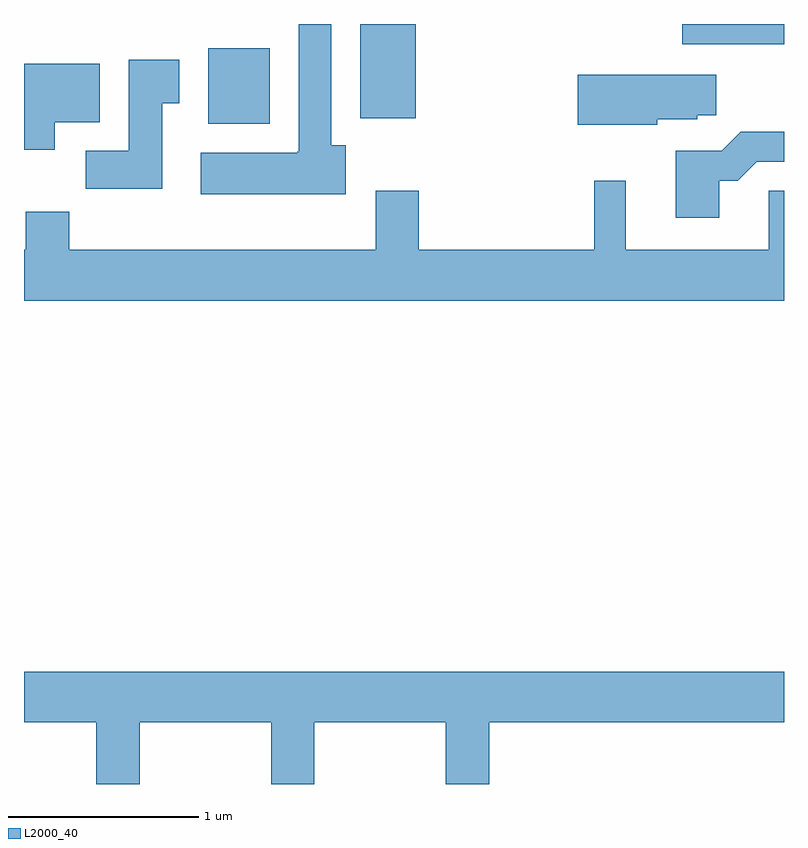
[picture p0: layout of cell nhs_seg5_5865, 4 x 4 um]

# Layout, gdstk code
import gdstk
lib = gdstk.Library(unit=1e-6, precision=1e-09)
def R(c, l, rs):  # rectangles x0, y0, x1, y1
    for r in rs: c.add(gdstk.rectangle(r[:2], r[2:], *l))
def P(c, l, *ps):  # polygons
    for p in ps: c.add(gdstk.Polygon(p, *l))
L2000_40 = (2000, 40)

nhs_seg5_5865 = lib.new_cell('nhs_seg5_5865')
R(nhs_seg5_5865, L2000_40, [(360.581,1415.546,360.904,1415.944), (361.381,1415.576,361.674,1416.072), (363.076,1415.966,363.611,1416.072)])
P(nhs_seg5_5865, L2000_40, [(361.304,1415.434),(361.229,1415.434),(361.229,1416.072),(360.993,1416.072),(360.993,1416.071),(361.056,1416.071),(361.056,1415.4),(361.05,1415.4),(361.05,1415.394),(360.541,1415.394),(360.541,1415.176),(361.304,1415.176)],
  [(360.339,1415.656),(360.429,1415.656),(360.429,1415.884),(360.161,1415.884),(360.161,1415.404),(359.936,1415.404),(359.936,1415.206),(360.339,1415.206)],
  [(359.774,1415.556),(360.009,1415.556),(360.009,1415.864),(359.611,1415.864),(359.611,1415.411),(359.774,1415.411)],
  [(362.944,1415.571),(363.154,1415.571),(363.154,1415.591),(363.254,1415.591),(363.254,1415.804),(362.526,1415.804),(362.526,1415.541),(362.944,1415.541)],
  [(363.269,1415.246),(363.367,1415.246),(363.467,1415.346),(363.611,1415.346),(363.611,1415.504),(363.384,1415.504),(363.284,1415.404),(363.041,1415.404),(363.041,1415.051),(363.269,1415.051)],
  [(363.611,1415.194),(363.531,1415.194),(363.531,1414.884),(362.779,1414.884),(362.779,1415.248),(362.611,1415.248),(362.611,1414.884),(361.689,1414.884),(361.689,1415.194),(361.461,1415.194),(361.461,1414.884),(359.849,1414.884),(359.849,1415.084),(359.621,1415.084),(359.621,1414.884),(359.611,1414.884),(359.611,1414.616),(363.611,1414.616)],
  [(360.219,1412.396),(360.911,1412.396),(360.911,1412.072),(361.139,1412.072),(361.139,1412.396),(361.831,1412.396),(361.831,1412.072),(362.059,1412.072),(362.059,1412.396),(363.611,1412.396),(363.611,1412.664),(359.611,1412.664),(359.611,1412.396),(359.991,1412.396),(359.991,1412.072),(360.219,1412.072)])

lib.write_gds('nhs_seg5_5865.gds')
